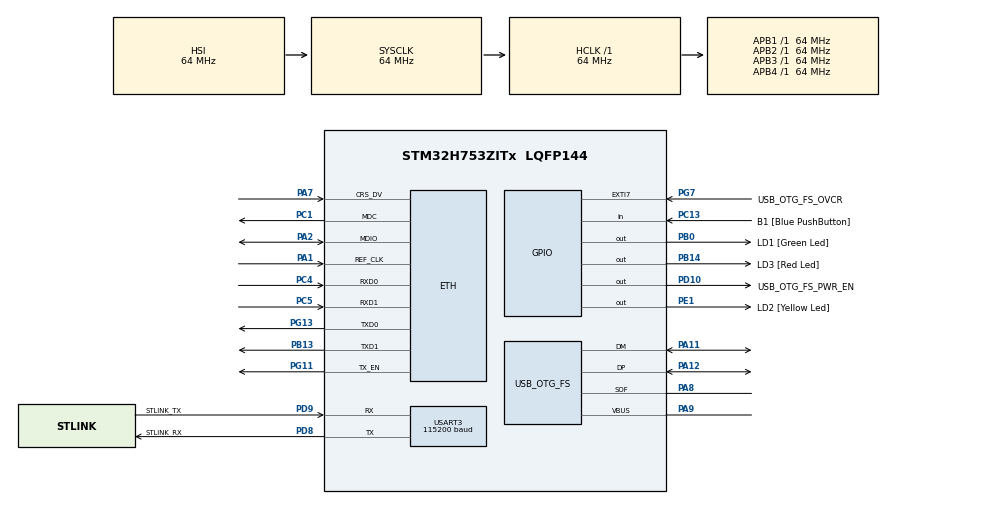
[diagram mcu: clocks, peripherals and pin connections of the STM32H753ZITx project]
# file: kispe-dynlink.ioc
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CORTEX_M7.CPU_DCache=Disabled
CORTEX_M7.CPU_ICache=Disabled
CORTEX_M7.MPU_Control=__NULL
ETH.ETH_RX_DESC_CNT=4
ETH.ETH_TX_DESC_CNT=4
ETH.MACAddr=00\:80\:E1\:00\:00\:00
ETH.MediaInterface=HAL_ETH_RMII_MODE
ETH.RxBuffAddress=0x30040200
ETH.RxBuffLen=1524
ETH.RxDescAddress=0x30040000
ETH.TxDescAddress=0x30040060
FREERTOS.HEAP_NUMBER=1
FREERTOS.Tasks01=defaultTask,24,128,StartDefaultTask,Default,NULL,Dynamic,NULL,NULL
Mcu.Family=STM32H7
Mcu.Name=STM32H753ZITx
Mcu.Package=LQFP144
NVIC.PriorityGroup=NVIC_PRIORITYGROUP_4
NVIC.TIM6_DAC_IRQn=true\:0\:0\:false\:false\:true\:false\:false\:true
NVIC.TimeBase=TIM6_DAC_IRQn
NVIC.TimeBaseIP=TIM6
NVIC.USART3_IRQn=true\:5\:0\:false\:false\:true\:true\:true\:true
PA1.Mode=RMII
PA1.Signal=ETH_REF_CLK
PA11.Mode=Device_Only
PA11.Signal=USB_OTG_FS_DM
PA12.Mode=Device_Only
PA12.Signal=USB_OTG_FS_DP
PA2.Mode=RMII
PA2.Signal=ETH_MDIO
PA7.Mode=RMII
PA7.Signal=ETH_CRS_DV
PA8.Mode=Activate_SOF_FS
PA8.Signal=USB_OTG_FS_SOF
PA9.Mode=Activate_VBUS
PA9.Signal=USB_OTG_FS_VBUS
PB0.GPIO_Label=LD1 [Green Led]
PB0.Signal=GPIO_Output
PB13.Mode=RMII
PB13.Signal=ETH_TXD1
PB14.GPIO_Label=LD3 [Red Led]
PB14.Signal=GPIO_Output
PC1.Mode=RMII
PC1.Signal=ETH_MDC
PC13.GPIO_Label=B1 [Blue PushButton]
PC13.Signal=GPIO_Input
PC14-OSC32_IN\ (OSC32_IN).Mode=LSE-External-Oscillator
PC14-OSC32_IN\ (OSC32_IN).Signal=RCC_OSC32_IN
PC15-OSC32_OUT\ (OSC32_OUT).Mode=LSE-External-Oscillator
PC15-OSC32_OUT\ (OSC32_OUT).Signal=RCC_OSC32_OUT
PC4.Mode=RMII
PC4.Signal=ETH_RXD0
PC5.Mode=RMII
PC5.Signal=ETH_RXD1
PD10.GPIO_Label=USB_OTG_FS_PWR_EN
PD10.Signal=GPIO_Output
PD8.GPIO_Label=STLINK_RX
PD8.Mode=Asynchronous
PD8.Signal=USART3_TX
PD9.GPIO_Label=STLINK_TX
PD9.Mode=Asynchronous
PD9.Signal=USART3_RX
PE1.GPIO_Label=LD2 [Yellow Led]
PE1.Signal=GPIO_Output
PG11.Mode=RMII
PG11.Signal=ETH_TX_EN
PG13.Mode=RMII
PG13.Signal=ETH_TXD0
PG7.GPIO_Label=USB_OTG_FS_OVCR
PG7.Signal=GPXTI7
PH0-OSC_IN\ (PH0).Mode=HSE-External-Clock-Source
PH0-OSC_IN\ (PH0).Signal=RCC_OSC_IN
PH1-OSC_OUT\ (PH1).Signal=RCC_OSC_OUT
ProjectManager.HeapSize=0x200
ProjectManager.StackSize=0x400
ProjectManager.TargetToolchain=Makefile
RCC.ADCFreq_Value=16125000
RCC.APB1Freq_Value=64000000
RCC.APB2Freq_Value=64000000
RCC.APB3Freq_Value=64000000
RCC.APB4Freq_Value=64000000
RCC.CortexFreq_Value=64000000
RCC.DIVM1=1
RCC.DIVN1=24
RCC.DIVQ1=4
RCC.HCLKFreq_Value=64000000
RCC.HSE_VALUE=8000000
RCC.PLLFRACN=0
RCC.PWR_Regulator_Voltage_Scale=PWR_REGULATOR_VOLTAGE_SCALE2
RCC.SYSCLKFreq_VALUE=64000000
RCC.USBFreq_Value=48000000
USART3.AutoBaudRateEnableParam=UART_ADVFEATURE_AUTOBAUDRATE_DISABLE
USART3.BaudRate=115200
USART3.ClockPrescaler=PRESCALER_DIV1
USART3.DMADisableonRxErrorParam=ADVFEATURE_DMA_ENABLEONRXERROR
USART3.DataInvertParam=ADVFEATURE_DATAINV_DISABLE
USART3.FIFOMode=FIFOMODE_DISABLE
USART3.MSBFirstParam=ADVFEATURE_MSBFIRST_DISABLE
USART3.Mode=MODE_TX_RX
USART3.OneBitSampling=UART_ONE_BIT_SAMPLE_DISABLE
USART3.OverSampling=UART_OVERSAMPLING_16
USART3.OverrunDisableParam=ADVFEATURE_OVERRUN_ENABLE
USART3.Parity=PARITY_NONE
USART3.RXFIFOThreshold=RXFIFO_THRESHOLD_1EIGHTHFULL
USART3.RxPinLevelInvertParam=ADVFEATURE_RXINV_DISABLE
USART3.StopBits=STOPBITS_1
USART3.SwapParam=ADVFEATURE_SWAP_DISABLE
USART3.TXFIFOThreshold=TXFIFO_THRESHOLD_1EIGHTHFULL
USART3.TxPinLevelInvertParam=ADVFEATURE_TXINV_DISABLE
USART3.VirtualMode-Asynchronous=VM_ASYNC
USART3.WordLength=WORDLENGTH_8B
USB_OTG_FS.Sof_enable=ENABLE
USB_OTG_FS.VirtualMode=Device_Only
USB_OTG_FS.battery_charging_enable=ENABLE
USB_OTG_FS.low_power_enable=DISABLE
USB_OTG_FS.lpm_enable=DISABLE
USB_OTG_FS.use_dedicated_ep1=DISABLE
USB_OTG_FS.vbus_sensing_enable=ENABLE
VP_FREERTOS_VS_CMSIS_V2.Mode=CMSIS_V2
VP_SYS_VS_tim6.Mode=TIM6
board=NUCLEO-H753ZI

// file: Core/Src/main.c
/* USER CODE BEGIN Header */
/**
  ******************************************************************************
  * @file           : main.c
  * @brief          : Main program body
  ******************************************************************************
  * @attention
  *
  * <h2><center>&copy; Copyright (c) 2021 STMicroelectronics.
  * All rights reserved.</center></h2>
  *
  * This software component is licensed by ST under BSD 3-Clause license,
  * the "License"; You may not use this file except in compliance with the
  * License. You may obtain a copy of the License at:
  *                        opensource.org/licenses/BSD-3-Clause
  *
  ******************************************************************************
  */
/* USER CODE END Header */
#include "main.h"
#include "string.h"

#include "FreeRTOS.h"

#include "cmsis_os.h"
#include "elf.h"
#include "applications.h"
#include "logger.h"
#include "task_manager.h"
//#include "logger.h"
#include "migrator.h"
#include "jumptbl.h"

#if defined ( __ICCARM__ ) /*!< IAR Compiler */

#pragma location=0x30040000
ETH_DMADescTypeDef  DMARxDscrTab[ETH_RX_DESC_CNT]; /* Ethernet Rx DMA Descriptors */
#pragma location=0x30040060
ETH_DMADescTypeDef  DMATxDscrTab[ETH_TX_DESC_CNT]; /* Ethernet Tx DMA Descriptors */
#pragma location=0x30040200
uint8_t Rx_Buff[ETH_RX_DESC_CNT][ETH_MAX_PACKET_SIZE]; /* Ethernet Receive Buffers */

#elif defined ( __CC_ARM )  /* MDK ARM Compiler */

__attribute__((at(0x30040000))) ETH_DMADescTypeDef  DMARxDscrTab[ETH_RX_DESC_CNT]; /* Ethernet Rx DMA Descriptors */
__attribute__((at(0x30040060))) ETH_DMADescTypeDef  DMATxDscrTab[ETH_TX_DESC_CNT]; /* Ethernet Tx DMA Descriptors */
__attribute__((at(0x30040200))) uint8_t Rx_Buff[ETH_RX_DESC_CNT][ETH_MAX_PACKET_SIZE]; /* Ethernet Receive Buffer */

#elif defined ( __GNUC__ ) /* GNU Compiler */

ETH_DMADescTypeDef DMARxDscrTab[ETH_RX_DESC_CNT] __attribute__((section(".RxDecripSection"))); /* Ethernet Rx DMA Descriptors */
ETH_DMADescTypeDef DMATxDscrTab[ETH_TX_DESC_CNT] __attribute__((section(".TxDecripSection")));   /* Ethernet Tx DMA Descriptors */
uint8_t Rx_Buff[ETH_RX_DESC_CNT][ETH_MAX_PACKET_SIZE] __attribute__((section(".RxArraySection"))); /* Ethernet Receive Buffers */

#endif

ETH_TxPacketConfig TxConfig;

ETH_HandleTypeDef heth;

UART_HandleTypeDef huart3;

PCD_HandleTypeDef hpcd_USB_OTG_FS;

/* Definitions for defaultTask */
osThreadId_t defaultTaskHandle;
const osThreadAttr_t defaultTask_attributes = {
  .name = "defaultTask",
  .stack_size = 128 * 4,
  .priority = (osPriority_t) osPriorityNormal,
};

void SystemClock_Config(void);
static void MX_GPIO_Init(void);
static void MX_ETH_Init(void);
//static void MX_USART3_UART_Init(void);
static void MX_USB_OTG_FS_PCD_Init(void);
void StartDefaultTask(void *argument);
void * simple_elf_v1;
task_register_cons * simplec = NULL;
uint8_t simple_elf_tmp[250000] __attribute__((at(0x2403E800)));
xTaskHandle      static_task_handle;

/* USER CODE BEGIN 0 */
int i = 0;
uint8_t buffer[100];
int len;

uint8_t indx, rx_data[2], rx_buffer[100], tx_done;

//typedef struct _myapi
//{
//  void (*log_msg)(const char* msg);
//} myapi;

//#define LOCATE_FUNC  __attribute__((__section__(".mysection")))
//myapi jumptbl_apis __attribute__((section(".jumptbl"))) =
//{
 // &jumptbl_logmsg,
//};
void uartt_print(UART_HandleTypeDef *uart, const char* str)
{
    /*
      if NULL is passed, avoid possible problems with dereferencing of NULL
      and print this string:
     */
    const char* null_str = "<NULL>\r\n";
    const char* cp;

    /* handle possible NULL value of str: */
    cp = ( NULL==str ? null_str : (char*) str );

    /*
     * Just print each character until a zero terminator is detected
     */
    for ( ; '\0' != *cp; ++cp )
    {
        //__printCh(nr, *cp);
        HAL_UART_Transmit_IT(uart, (uint8_t*)"*cp", 1);
    }
}

void HAL_UART_TxCpltCallback(UART_HandleTypeDef *UartHandle)
{
    /* Turn LED1 on: Transfer in transmission process is correct */
    //BSP_LED_On(LED1);
    __NOP();
    //HAL_UART_Transmit_IT(&huart3, (uint8_t*)"interrupt", 10);
    //__HAL_UART_ENABLE_IT(&huart3, UART_IT_TC);
}

/**
  * @brief  Rx Transfer completed callback
  * @param  UartHandle: UART handle
  * @note   This example shows a simple way to report end of IT Rx transfer, and
  *         you can add your own implementation
  * @retval None
  */
void HAL_UART_RxCpltCallback(UART_HandleTypeDef *huart)
{
    __NOP();
#if 0
    uint8_t i;
    if (huart->Instance == USART3)	//current UART
    {
        if (indx == 0)
        {
            for ( i= 0; i < 100; i++)
                rx_buffer[i]= '\0';
        }

        if (rx_data[0] != '\r')
            rx_buffer[indx++] = rx_data[0];
        else
        {
            indx = 0;
            tx_done = 1;//transfer complete, data is ready to read
        }
        //__HAL_UART_ENABLE_IT(&huart3, UART_IT_RXNE);
        HAL_UART_Receive_IT(&huart3, rx_data, 1);	//activate UART receive interrupt every time
    }
#endif
}
/* USER CODE END 0 */

void static_task()
{
    vDirectPrintMsg("static_task\n");
    while (1)
    {
        vTaskDelay(2000);
        vDirectPrintMsg("static task");
    }
}

int main(void)
{
    /* USER CODE BEGIN 1 */
    //entry_ptr_t entry_point = NULL;
    int i = 0;
    int j = 0;
    /* USER CODE END 1 */

    /* MCU Configuration--------------------------------------------------------*/

    /* Reset of all peripherals, Initializes the Flash interface and the Systick. */
    HAL_Init();

    /* disable MPU */
    HAL_MPU_Disable();

    /* disable MPU */
    HAL_MPU_Disable();

    /* Configure the system clock */
    SystemClock_Config();

    /* Initialize all configured peripherals */
    MX_GPIO_Init();
    MX_ETH_Init();
    MX_USART3_UART_Init();
    MX_USB_OTG_FS_PCD_Init();

    /* Init scheduler */
    //HAL_UART_Transmit(&huart3, (uint8_t*)"kernel intialize", 16, 1000);
    //uartt_print( &huart3, "vDirectMsg");
    //osKernelInitialize();

    //__HAL_UART_ENABLE_IT(&huart3, UART_IT_RXNE);
    //__HAL_UART_ENABLE_IT(&huart3, UART_IT_TC);

    /* activate uart rx interrupt avery time receiving 1 byte */
    //HAL_UART_Receive_IT(&huart3, rx_data, 1);

    /* Create the thread(s) */
    /* creation of defaultTask */
    //defaultTaskHandle = osThreadNew(StartDefaultTask, NULL, &defaultTask_attributes);

    Elf32_Ehdr *simple_elfh = APPLICATION_ELF(simple);
    //volatile void *simple_elfh = APPLICATION_ELF(simple);
    //uint8_t simple_elf_tmp[12000];
    //uint8_t * simple_elf_tmp =
    //       (uint8_t *)SYSTEM_MALLOC_CALL(12000);

    for (i = 0; i < 300000; i++)
        simple_elf_tmp[i]= 0x00;
    HAL_UART_Receive(&huart3, simple_elf_tmp, 234000, 500000);
    simple_elf_v1 = (Elf32_Ehdr *)simple_elf_tmp;
    /*while (simple_elf_tmp[i] != '0' && simple_elf_tmp[i+1] != 'x')
    {
        i++;
    }*/
    i = 0;
    //HAL_Delay(1000);
    //task_register_cons * simplec = task_register("simple", simple_elfh);
    simplec = task_register("simple", simple_elfh);
    if (!task_alloc(simplec))
    {
        vDirectPrintMsg("Failed to allocate task\n");
    }

    if (!task_link(simplec))
    {
        vDirectPrintMsg("Failed to link task\n");
    }

    if (!task_start(simplec))
    {
        vDirectPrintMsg("Failed to start task\n");
    }

    vDirectPrintMsg("Starting static task \n");
    if(xTaskCreate(migrator_task, (const char *)"static_task",
            configMINIMAL_STACK_SIZE, NULL,
            2, static_task_handle) != pdPASS)
    {
        vDirectPrintMsg("Failed to create migrator task");
    }

    vDirectPrintMsg("Starting Migrator\n");
    if (!migrator_task_start())
    {
        vDirectPrintMsg("Failed to start the migrator");
    }
    //vTaskDelay(10000);

    /* Start scheduler */

    //osKernelStart();
    vTaskStartScheduler();

    /* We should never get here as control is now taken by the scheduler */
    /* Infinite loop */
    while (1)
    {
      //HAL_UART_Transmit_IT(&huart3, (uint8_t*)"initcomplete interrupt", 30);
    }
}

void SystemClock_Config(void)
{
    RCC_OscInitTypeDef RCC_OscInitStruct = {0};
    RCC_ClkInitTypeDef RCC_ClkInitStruct = {0};

    /** Supply configuration update enable
    */
    HAL_PWREx_ConfigSupply(PWR_LDO_SUPPLY);
    /** Configure the main internal regulator output voltage
    */
    __HAL_PWR_VOLTAGESCALING_CONFIG(PWR_REGULATOR_VOLTAGE_SCALE2);

    while(!__HAL_PWR_GET_FLAG(PWR_FLAG_VOSRDY)) {}
    /** Initializes the RCC Oscillators according to the specified parameters
    * in the RCC_OscInitTypeDef structure.
    */
    RCC_OscInitStruct.OscillatorType = RCC_OSCILLATORTYPE_HSI|RCC_OSCILLATORTYPE_HSE;
    RCC_OscInitStruct.HSEState = RCC_HSE_BYPASS;
    RCC_OscInitStruct.HSIState = RCC_HSI_DIV1;
    RCC_OscInitStruct.HSICalibrationValue = RCC_HSICALIBRATION_DEFAULT;
    RCC_OscInitStruct.PLL.PLLState = RCC_PLL_ON;
    RCC_OscInitStruct.PLL.PLLSource = RCC_PLLSOURCE_HSE;
    RCC_OscInitStruct.PLL.PLLM = 1;
    RCC_OscInitStruct.PLL.PLLN = 24;
    RCC_OscInitStruct.PLL.PLLP = 2;
    RCC_OscInitStruct.PLL.PLLQ = 4;
    RCC_OscInitStruct.PLL.PLLR = 2;
    RCC_OscInitStruct.PLL.PLLRGE = RCC_PLL1VCIRANGE_3;
    RCC_OscInitStruct.PLL.PLLVCOSEL = RCC_PLL1VCOWIDE;
    RCC_OscInitStruct.PLL.PLLFRACN = 0;
    if (HAL_RCC_OscConfig(&RCC_OscInitStruct) != HAL_OK)
    {
    Error_Handler();
    }
    /** Initializes the CPU, AHB and APB buses clocks
    */
    RCC_ClkInitStruct.ClockType = RCC_CLOCKTYPE_HCLK|RCC_CLOCKTYPE_SYSCLK
                              |RCC_CLOCKTYPE_PCLK1|RCC_CLOCKTYPE_PCLK2
                              |RCC_CLOCKTYPE_D3PCLK1|RCC_CLOCKTYPE_D1PCLK1;
    RCC_ClkInitStruct.SYSCLKSource = RCC_SYSCLKSOURCE_HSI;
    RCC_ClkInitStruct.SYSCLKDivider = RCC_SYSCLK_DIV1;
    RCC_ClkInitStruct.AHBCLKDivider = RCC_HCLK_DIV1;
    RCC_ClkInitStruct.APB3CLKDivider = RCC_APB3_DIV1;
    RCC_ClkInitStruct.APB1CLKDivider = RCC_APB1_DIV1;
    RCC_ClkInitStruct.APB2CLKDivider = RCC_APB2_DIV1;
    RCC_ClkInitStruct.APB4CLKDivider = RCC_APB4_DIV1;

    if (HAL_RCC_ClockConfig(&RCC_ClkInitStruct, FLASH_LATENCY_1) != HAL_OK)
    {
    Error_Handler();
    }
}

static void MX_ETH_Init(void)
{

    heth.Instance = ETH;
    heth.Init.MACAddr[0] =   0x00;
    heth.Init.MACAddr[1] =   0x80;
    heth.Init.MACAddr[2] =   0xE1;
    heth.Init.MACAddr[3] =   0x00;
    heth.Init.MACAddr[4] =   0x00;
    heth.Init.MACAddr[5] =   0x00;
    heth.Init.MediaInterface = HAL_ETH_RMII_MODE;
    heth.Init.TxDesc = DMATxDscrTab;
    heth.Init.RxDesc = DMARxDscrTab;
    heth.Init.RxBuffLen = 1524;

    if (HAL_ETH_Init(&heth) != HAL_OK)
    {
    Error_Handler();
    }

    memset(&TxConfig, 0 , sizeof(ETH_TxPacketConfig));
    TxConfig.Attributes = ETH_TX_PACKETS_FEATURES_CSUM | ETH_TX_PACKETS_FEATURES_CRCPAD;
    TxConfig.ChecksumCtrl = ETH_CHECKSUM_IPHDR_PAYLOAD_INSERT_PHDR_CALC;
    TxConfig.CRCPadCtrl = ETH_CRC_PAD_INSERT;

}

static void MX_USB_OTG_FS_PCD_Init(void)
{

    hpcd_USB_OTG_FS.Instance = USB_OTG_FS;
    hpcd_USB_OTG_FS.Init.dev_endpoints = 9;
    hpcd_USB_OTG_FS.Init.speed = PCD_SPEED_FULL;
    hpcd_USB_OTG_FS.Init.dma_enable = DISABLE;
    hpcd_USB_OTG_FS.Init.phy_itface = PCD_PHY_EMBEDDED;
    hpcd_USB_OTG_FS.Init.Sof_enable = ENABLE;
    hpcd_USB_OTG_FS.Init.low_power_enable = DISABLE;
    hpcd_USB_OTG_FS.Init.lpm_enable = DISABLE;
    hpcd_USB_OTG_FS.Init.battery_charging_enable = ENABLE;
    hpcd_USB_OTG_FS.Init.vbus_sensing_enable = ENABLE;
    hpcd_USB_OTG_FS.Init.use_dedicated_ep1 = DISABLE;
    if (HAL_PCD_Init(&hpcd_USB_OTG_FS) != HAL_OK)
    {
    Error_Handler();
    }

}

static void MX_GPIO_Init(void)
{
    GPIO_InitTypeDef GPIO_InitStruct = {0};

    /* GPIO Ports Clock Enable */
    __HAL_RCC_GPIOC_CLK_ENABLE();
    __HAL_RCC_GPIOH_CLK_ENABLE();
    __HAL_RCC_GPIOA_CLK_ENABLE();
    __HAL_RCC_GPIOB_CLK_ENABLE();
    __HAL_RCC_GPIOD_CLK_ENABLE();
    __HAL_RCC_GPIOG_CLK_ENABLE();
    __HAL_RCC_GPIOE_CLK_ENABLE();

    /*Configure GPIO pin Output Level */
    HAL_GPIO_WritePin(GPIOB, LD1_Pin|LD3_Pin, GPIO_PIN_RESET);

    /*Configure GPIO pin Output Level */
    HAL_GPIO_WritePin(USB_OTG_FS_PWR_EN_GPIO_Port, USB_OTG_FS_PWR_EN_Pin, GPIO_PIN_RESET);

    /*Configure GPIO pin Output Level */
    HAL_GPIO_WritePin(LD2_GPIO_Port, LD2_Pin, GPIO_PIN_RESET);

    /*Configure GPIO pin : B1_Pin */
    GPIO_InitStruct.Pin = B1_Pin;
    GPIO_InitStruct.Mode = GPIO_MODE_INPUT;
    GPIO_InitStruct.Pull = GPIO_NOPULL;
    HAL_GPIO_Init(B1_GPIO_Port, &GPIO_InitStruct);

    /*Configure GPIO pins : LD1_Pin LD3_Pin */
    GPIO_InitStruct.Pin = LD1_Pin|LD3_Pin;
    GPIO_InitStruct.Mode = GPIO_MODE_OUTPUT_PP;
    GPIO_InitStruct.Pull = GPIO_NOPULL;
    GPIO_InitStruct.Speed = GPIO_SPEED_FREQ_LOW;
    HAL_GPIO_Init(GPIOB, &GPIO_InitStruct);

    /*Configure GPIO pin : USB_OTG_FS_PWR_EN_Pin */
    GPIO_InitStruct.Pin = USB_OTG_FS_PWR_EN_Pin;
    GPIO_InitStruct.Mode = GPIO_MODE_OUTPUT_PP;
    GPIO_InitStruct.Pull = GPIO_NOPULL;
    GPIO_InitStruct.Speed = GPIO_SPEED_FREQ_LOW;
    HAL_GPIO_Init(USB_OTG_FS_PWR_EN_GPIO_Port, &GPIO_InitStruct);

    /*Configure GPIO pin : USB_OTG_FS_OVCR_Pin */
    GPIO_InitStruct.Pin = USB_OTG_FS_OVCR_Pin;
    GPIO_InitStruct.Mode = GPIO_MODE_IT_RISING;
    GPIO_InitStruct.Pull = GPIO_NOPULL;
    HAL_GPIO_Init(USB_OTG_FS_OVCR_GPIO_Port, &GPIO_InitStruct);

    /*Configure GPIO pin : LD2_Pin */
    GPIO_InitStruct.Pin = LD2_Pin;
    GPIO_InitStruct.Mode = GPIO_MODE_OUTPUT_PP;
    GPIO_InitStruct.Pull = GPIO_NOPULL;
    GPIO_InitStruct.Speed = GPIO_SPEED_FREQ_LOW;
    HAL_GPIO_Init(LD2_GPIO_Port, &GPIO_InitStruct);

}

void StartDefaultTask(void *argument)
{
    for(;;)
    {
    osDelay(1);
    }
}

 /**
  * @brief  Period elapsed callback in non blocking mode
  * @note   This function is called  when TIM6 interrupt took place, inside
  * HAL_TIM_IRQHandler(). It makes a direct call to HAL_IncTick() to increment
  * a global variable "uwTick" used as application time base.
  * @param  htim : TIM handle
  * @retval None
  */
void HAL_TIM_PeriodElapsedCallback(TIM_HandleTypeDef *htim)
{
    if (htim->Instance == TIM6) {
    HAL_IncTick();
    }
}

void Error_Handler(void)
{
  __disable_irq();
  while (1)
  {
  }
}

/************************ (C) COPYRIGHT STMicroelectronics *****END OF FILE****/
